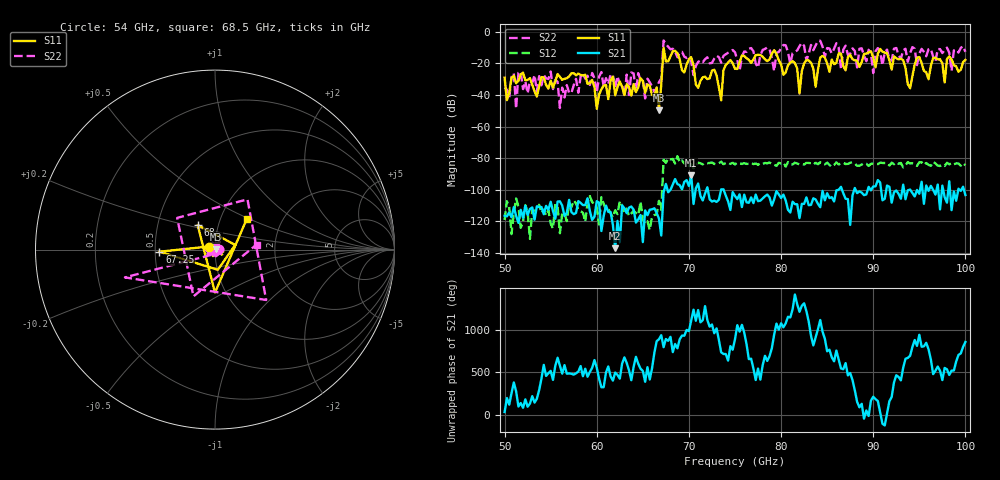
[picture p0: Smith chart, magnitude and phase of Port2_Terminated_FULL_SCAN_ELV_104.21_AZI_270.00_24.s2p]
! 11/25/2026 1:49:12 PM
! C:\ANRITSUVNA\TEMP\TEMP.S2P
! CHANNEL.1
! TR.MEASUREMENT
! RAW.DATA
# HZ S RI R 50.0
! FREQ.HZ  S11RE  S11IM  S21RE  S21IM  S12RE  S12IM  S22RE  S22IM
!; PortSelection: Port_12
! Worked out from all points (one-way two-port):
!   201 points, 50 GHz to 100 GHz, reference 50 ohm
!   highest |S21| = -90.87 dB at 70.25 GHz (marker M1); lowest = -137.0 dB at 62 GHz (marker M2)
!   lowest |S11| = -49.7 dB at 66.75 GHz (marker M3), VSWR 1.01, Z = 50.3 + j0.0704 ohm
!   |S11| at or under -10 dB: start of sweep to end of sweep
!   |S22| runs from -48.7 to -5.6 dB; largest |S21 - S12| = 0.0001
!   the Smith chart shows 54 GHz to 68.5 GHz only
!   S11 on the Smith chart (normalised r, x): 54 GHz: 0.93, +0.03; 67.25 GHz: 0.53, -0.01; 68 GHz: 0.80, +0.22; 68.5 GHz: 1.33, +0.49
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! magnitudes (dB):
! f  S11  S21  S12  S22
! 50 GHz  -29.1  -116.3  -119.0  -35.4
! 54 GHz  -28.7  -110.9  -114.6  -33.9
! 55 GHz  -30.9  -107.5  -121.4  -25.2
! 56 GHz  -28.6  -107.3  -127.4  -48.3
! 58.5 GHz  -27.7  -109.6  -114.4  -26.7
! 60 GHz  -48.8  -107.1  -111.4  -38.4
! 62 GHz  -40.2  -137.0  -112.9  -35.3
! 64.75 GHz  -29.4  -115.9  -107.4  -30.8
! 66.75 GHz  -49.7  -118.2  -107.0  -31.9
! 67.25 GHz  -10.2  -101.6  -80.9  -5.6
! 68 GHz  -15.5  -100.0  -80.8  -11.2
! 68.5 GHz  -12.1  -93.2  -83.4  -12.6
! 70.25 GHz  -16.1  -90.9  -83.9  -19.1
! 73.5 GHz  -43.4  -99.7  -82.1  -19.6
! 73.75 GHz  -24.4  -99.7  -83.8  -15.3
! 75 GHz  -23.5  -103.9  -83.9  -13.0
! 82 GHz  -39.2  -117.9  -83.9  -9.2
! 83.5 GHz  -23.5  -105.3  -84.1  -11.7
! 91.75 GHz  -18.1  -98.1  -84.7  -17.5
! 94 GHz  -35.8  -99.8  -83.4  -13.7
! 94.75 GHz  -16.5  -100.1  -84.8  -21.2
! 100 GHz  -17.9  -103.3  -84.4  -12.8
